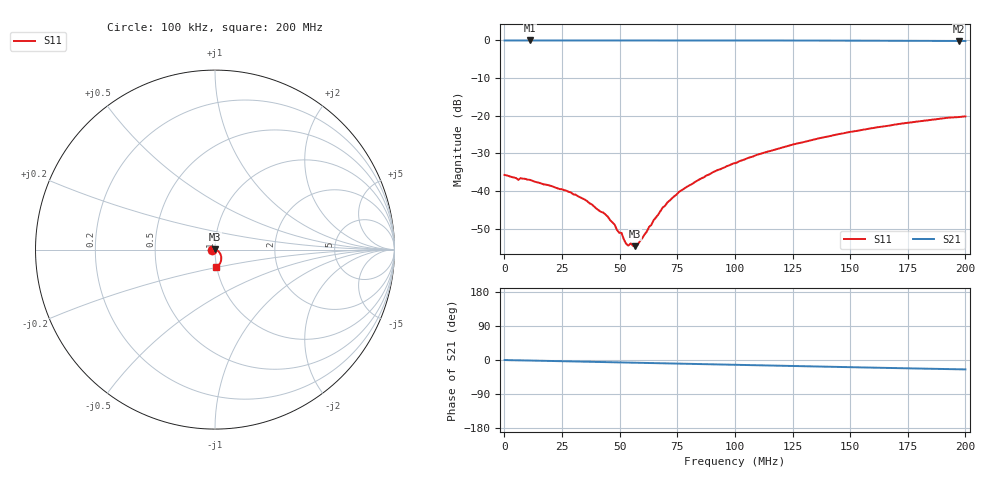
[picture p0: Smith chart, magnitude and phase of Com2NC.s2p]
# HZ S RI R 50
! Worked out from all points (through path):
!   202 points, 100 kHz to 200 MHz, reference 50 ohm
!   highest |S21| = 0.00 dB at 11.04 MHz (marker M1); lowest = -0.1 dB at 197 MHz (marker M2)
!   group delay of S21, straight-line fit = 349 ps
!   lowest |S11| = -54.7 dB at 56.79 MHz (marker M3), VSWR 1.00, Z = 50.1 + j0.149 ohm
!   |S11| at or under -10 dB: start of sweep to end of sweep
!   S12 and S22 are empty: the file has one direction only
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100000  -0.0163 -0.000237  0.9996 -0.000346  0 0  0 0
6067162  -0.0139 0.00209  0.9985 -0.0164  0 0  0 0
7061689  -0.0146 0.00222  0.9996 -0.0158  0 0  0 0
1.10398e7  -0.0137 0.00292  0.9997 -0.0246  0 0  0 0
2.695223e7  -0.00938 0.00363  0.9967 -0.0587  0 0  0 0
3.391392e7  -0.00719 0.00343  0.9967 -0.0737  0 0  0 0
4.485372e7  -0.00366 0.00272  0.9932 -0.0971  0 0  0 0
4.982635e7  -0.00179 0.00214  0.9925 -0.1078  0 0  0 0
5.082088e7  -0.00148 0.00234  0.9929 -0.11  0 0  0 0
5.280993e7  -0.000528 0.00192  0.9922 -0.1142  0 0  0 0
5.678804e7  0.00109 0.00149  0.9914 -0.1228  0 0  0 0
5.778257e7  0.00139 0.00132  0.9907 -0.1248  0 0  0 0
6.673331e7  0.00482 -0.000529  0.988 -0.1438  0 0  0 0
6.872236e7  0.00596 -0.000932  0.9881 -0.1484  0 0  0 0
7.568405e7  0.00934 -0.00255  0.9855 -0.1633  0 0  0 0
9.060196e7  0.0163 -0.00717  0.9799 -0.1958  0 0  0 0
1.005472e8  0.0206 -0.0113  0.9756 -0.2176  0 0  0 0
1.134761e8  0.0269 -0.0188  0.9681 -0.2459  0 0  0 0
1.333666e8  0.0334 -0.0337  0.9538 -0.2887  0 0  0 0
1.671805e8  0.032 -0.0668  0.9238 -0.3556  0 0  0 0
1.970163e8  0.0107 -0.0953  0.8949 -0.4075  0 0  0 0
1.999999e8  0.00762 -0.0976  0.8931 -0.4129  0 0  0 0
